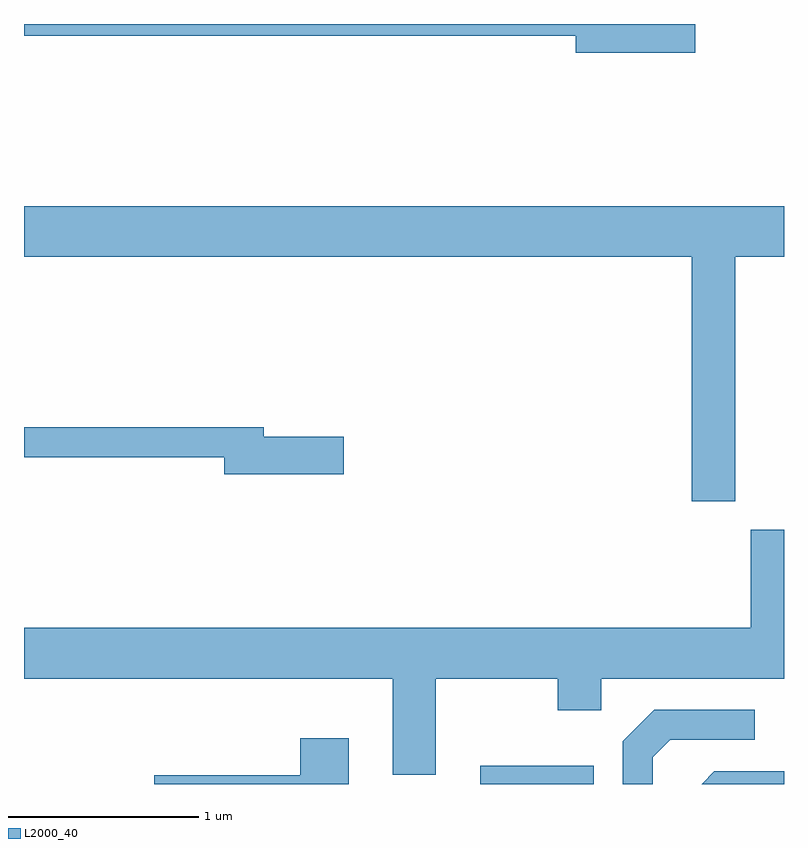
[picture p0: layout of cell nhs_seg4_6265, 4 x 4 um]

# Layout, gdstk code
import gdstk
lib = gdstk.Library(unit=1e-6, precision=1e-09)
def R(c, l, rs):  # rectangles x0, y0, x1, y1
    for r in rs: c.add(gdstk.rectangle(r[:2], r[2:], *l))
def P(c, l, *ps):  # polygons
    for p in ps: c.add(gdstk.Polygon(p, *l))
L2000_40 = (2000, 40)

nhs_seg4_6265 = lib.new_cell('nhs_seg4_6265')
R(nhs_seg4_6265, L2000_40, [(372.011,1271.982,372.609,1272.079)])
P(nhs_seg4_6265, L2000_40, [(373.144,1275.982),(369.611,1275.982),(369.611,1275.921),(372.516,1275.921),(372.516,1275.831),(373.144,1275.831)],
  [(373.354,1274.756),(373.611,1274.756),(373.611,1275.024),(369.611,1275.024),(369.611,1274.756),(373.126,1274.756),(373.126,1273.471),(373.354,1273.471)],
  [(371.294,1273.809),(370.874,1273.809),(370.874,1273.859),(369.611,1273.859),(369.611,1273.701),(370.666,1273.701),(370.666,1273.611),(371.294,1273.611)],
  [(371.779,1272.536),(372.421,1272.536),(372.421,1272.371),(372.649,1272.371),(372.649,1272.536),(373.611,1272.536),(373.611,1273.319),(373.436,1273.319),(373.436,1272.804),(369.611,1272.804),(369.611,1272.536),(371.551,1272.536),(371.551,1272.031),(371.779,1272.031)],
  [(372.919,1272.124),(373.012,1272.216),(373.458,1272.216),(373.458,1272.374),(372.929,1272.374),(372.761,1272.207),(372.761,1271.982),(372.919,1271.982)],
  [(371.319,1272.224),(371.066,1272.224),(371.066,1272.029),(370.296,1272.029),(370.296,1271.982),(371.319,1271.982)],
  [(373.611,1272.049),(373.244,1272.049),(373.177,1271.982),(373.611,1271.982)])

lib.write_gds('nhs_seg4_6265.gds')
